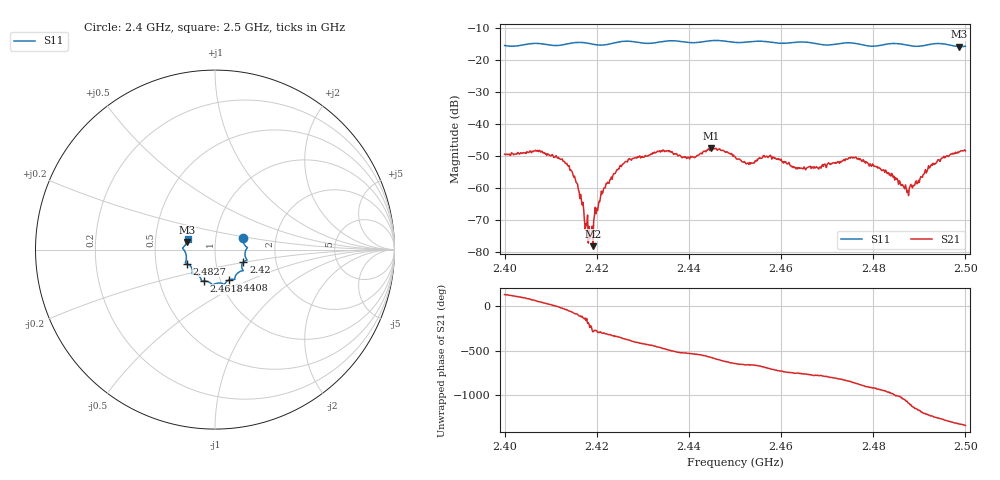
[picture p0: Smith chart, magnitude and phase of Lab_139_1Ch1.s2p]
# Hz S RI R 50
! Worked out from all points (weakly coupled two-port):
!   601 points, 2.4 GHz to 2.5 GHz, reference 50 ohm
!   highest |S21| = -47.55 dB at 2.4448 GHz (marker M1); lowest = -78.2 dB at 2.4192 GHz (marker M2)
!   lowest |S11| = -15.8 dB at 2.4987 GHz (marker M3), VSWR 1.39, Z = 36.4 + j3.16 ohm
!   |S11| at or under -10 dB: start of sweep to end of sweep
!   S12 and S22 are empty: the file has one direction only
!   S11 on the Smith chart (normalised r, x): 2.4 GHz: 1.36, +0.17; 2.42 GHz: 1.36, -0.19; 2.4408 GHz: 1.10, -0.38; 2.4618 GHz: 0.84, -0.30; 2.4827 GHz: 0.72, -0.12; 2.5 GHz: 0.73, +0.09
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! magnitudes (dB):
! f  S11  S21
! 2.4 GHz  -15.5  -49.5
! 2.4122 GHz  -15.4  -51.1
! 2.4148 GHz  -14.7  -55.8
! 2.4167 GHz  -14.5  -63.8
! 2.4187 GHz  -14.9  -75.0
! 2.4192 GHz  -15.1  -78.2
! 2.42 GHz  -15.3  -66.3
! 2.422 GHz  -15.2  -58.6
! 2.4255 GHz  -14.2  -52.8
! 2.4333 GHz  -14.5  -48.6
! 2.4408 GHz  -14.6  -50.3
! 2.4448 GHz  -14.0  -47.6
! 2.45 GHz  -14.5  -50.2
! 2.4618 GHz  -14.7  -52.5
! 2.4667 GHz  -14.7  -53.4
! 2.4758 GHz  -14.8  -50.6
! 2.4827 GHz  -15.1  -54.4
! 2.4833 GHz  -15.0  -55.2
! 2.4873 GHz  -15.4  -61.4
! 2.4925 GHz  -15.1  -53.0
! 2.4987 GHz  -15.8  -48.7
! 2.5 GHz  -15.7  -48.4
